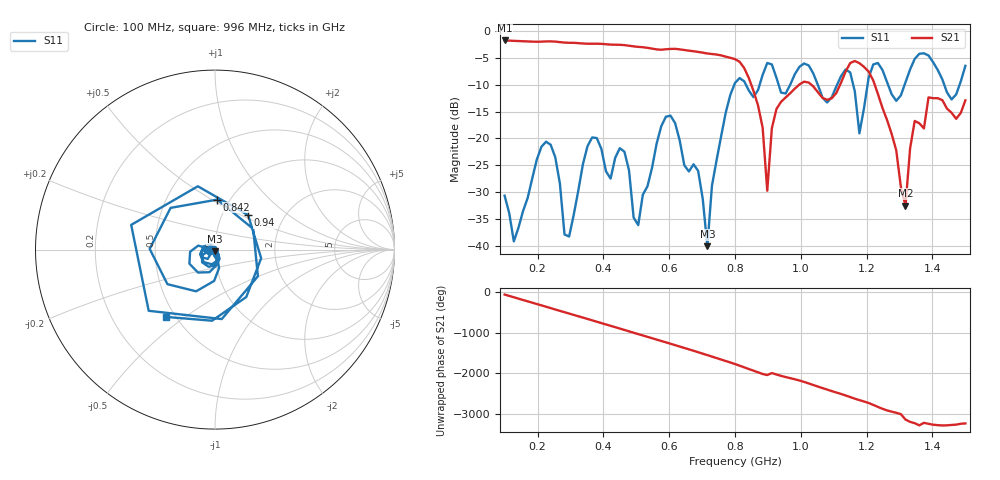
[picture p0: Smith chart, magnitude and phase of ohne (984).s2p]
! NanoVNA-App
! Date: 2025-09-25 14:28:27
! Start: 100MHz Stop: 1,5GHz Points: 101
! S-Parameter data: F S11 S21 S12 S22
# Hz S RI R 50
!  Frequency  S11_Real  S11_Imag  S21_Real  S21_Imag  S12_Real  S12_Imag  S22_Real  S22_Imag
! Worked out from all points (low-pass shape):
!   101 points, 100 MHz to 1.5 GHz, reference 50 ohm
!   highest |S21| = -1.79 dB at 100 MHz (marker M1); lowest = -32.5 dB at 1.318 GHz (marker M2)
!   |S21| within 3 dB of the highest: start of sweep to 771.5 MHz
!   lowest |S11| = -40.0 dB at 716 MHz (marker M3), VSWR 1.02, Z = 49.7 - j0.961 ohm
!   |S11| at or under -10 dB: start of sweep to 798 MHz; 833.1 MHz to 875 MHz (41.99 MHz wide, 4.92 % of centre); 1.051 GHz to 1.11 GHz (59 MHz wide, 5.46 % of centre) (the widest 3 of 7)
!   S12 and S22 are empty: the file has one direction only
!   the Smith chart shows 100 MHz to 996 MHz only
!   S11 on the Smith chart (normalised r, x): 100 MHz: 0.94, -0.01; 842 MHz: 0.88, +0.53; 940 MHz: 1.32, +0.55; 996 MHz: 0.45, -0.43
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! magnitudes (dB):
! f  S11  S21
! 100 MHz  -30.6  -1.8
! 128 MHz  -39.1  -1.9
! 226 MHz  -20.6  -2.0
! 296 MHz  -38.2  -2.2
! 338 MHz  -24.8  -2.4
! 464 MHz  -22.5  -2.7
! 506 MHz  -36.1  -3.0
! 576 MHz  -17.7  -3.5
! 688 MHz  -26.0  -3.9
! 716 MHz  -40.0  -4.2
! 800 MHz  -9.7  -5.3
! 842 MHz  -11.1  -8.8
! 898 MHz  -6.0  -29.7
! 940 MHz  -11.5  -13.2
! 996 MHz  -6.7  -10.0
! 1.038 GHz  -7.9  -10.3
! 1.178 GHz  -19.1  -6.0
! 1.22 GHz  -6.3  -9.2
! 1.276 GHz  -11.8  -19.2
! 1.318 GHz  -9.6  -32.5
! 1.346 GHz  -5.2  -16.8
! 1.5 GHz  -6.5  -12.9
